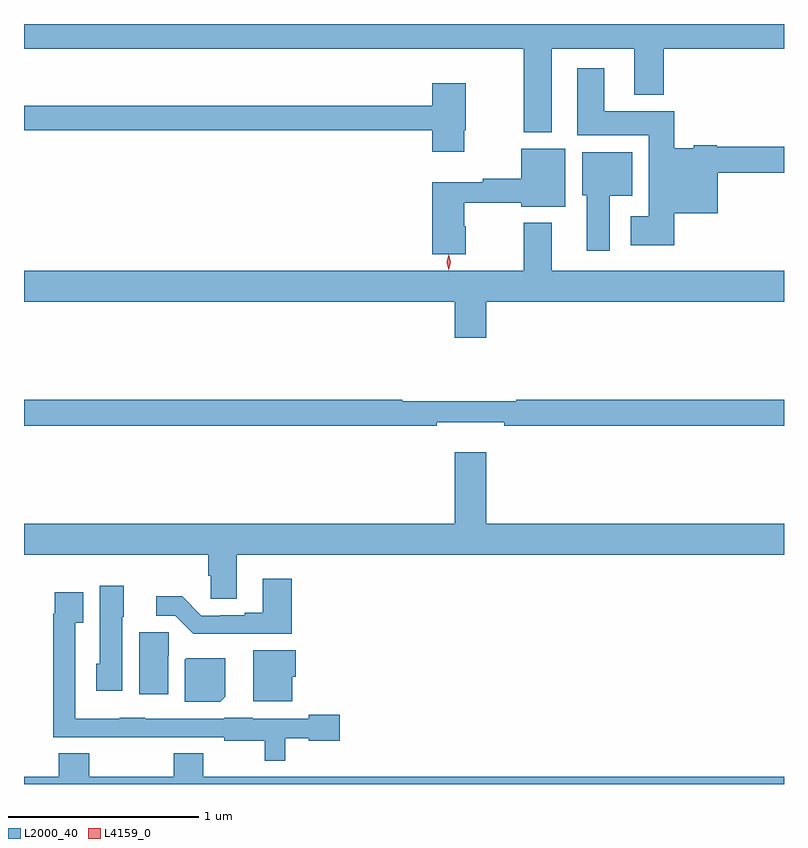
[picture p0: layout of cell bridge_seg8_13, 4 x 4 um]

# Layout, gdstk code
import gdstk
lib = gdstk.Library(unit=1e-6, precision=1e-09)
def P(c, l, *ps):  # polygons
    for p in ps: c.add(gdstk.Polygon(p, *l))
L2000_40 = (2000, 40)
L4159_0 = (4159, 0)

bridge_seg8_13 = lib.new_cell('bridge_seg8_13')
P(bridge_seg8_13, L2000_40, [(980.701,1161.788),(981.137,1161.788),(981.137,1161.545),(981.29,1161.545),(981.29,1161.788),(981.924,1161.788),(981.924,1161.918),(977.924,1161.918),(977.924,1161.788),(980.554,1161.788),(980.554,1161.347),(980.701,1161.347)],
  [(981.347,1160.921),(981.574,1160.921),(981.574,1161.136),(981.924,1161.136),(981.924,1161.272),(981.57,1161.272),(981.57,1161.28),(981.45,1161.28),(981.45,1161.265),(981.347,1161.265),(981.347,1161.46),(980.977,1161.46),(980.977,1161.685),(980.837,1161.685),(980.837,1161.332),(981.212,1161.332),(981.212,1160.905),(981.117,1160.905),(981.117,1160.753),(981.347,1160.753)],
  [(980.242,1161.358),(980.25,1161.358),(980.25,1161.607),(980.072,1161.607),(980.072,1161.487),(977.924,1161.487),(977.924,1161.358),(980.072,1161.358),(980.072,1161.246),(980.242,1161.246)],
  [(980.25,1160.853),(980.242,1160.853),(980.242,1160.976),(980.54,1160.976),(980.54,1160.957),(980.773,1160.957),(980.773,1161.262),(980.54,1161.262),(980.54,1161.104),(980.338,1161.104),(980.338,1161.085),(980.072,1161.085),(980.072,1160.705),(980.25,1160.705)],
  [(981.007,1161.014),(981.124,1161.014),(981.124,1161.244),(980.861,1161.244),(980.861,1161.018),(980.885,1161.018),(980.885,1160.724),(981.007,1160.724)],
  [(980.356,1160.456),(981.924,1160.456),(981.924,1160.62),(980.701,1160.62),(980.701,1160.872),(980.554,1160.872),(980.554,1160.62),(977.924,1160.62),(977.924,1160.456),(980.192,1160.456),(980.192,1160.268),(980.356,1160.268)],
  [(980.096,1159.823),(980.452,1159.823),(980.452,1159.804),(981.924,1159.804),(981.924,1159.94),(980.516,1159.94),(980.516,1159.933),(979.916,1159.933),(979.916,1159.94),(977.924,1159.94),(977.924,1159.804),(980.096,1159.804)],
  [(979.045,1159.124),(981.924,1159.124),(981.924,1159.288),(980.356,1159.288),(980.356,1159.663),(980.192,1159.663),(980.192,1159.288),(977.924,1159.288),(977.924,1159.124),(978.893,1159.124),(978.893,1159.014),(978.906,1159.014),(978.906,1158.892),(979.045,1158.892)],
  [(979.334,1158.997),(979.181,1158.997),(979.181,1158.82),(979.085,1158.82),(979.085,1158.807),(978.958,1158.807),(978.958,1158.804),(978.858,1158.804),(978.756,1158.907),(978.621,1158.907),(978.621,1158.804),(978.72,1158.804),(978.815,1158.71),(979.334,1158.71)],
  [(978.442,1158.798),(978.448,1158.798),(978.448,1158.961),(978.323,1158.961),(978.323,1158.552),(978.305,1158.552),(978.305,1158.408),(978.442,1158.408)],
  [(979.299,1158.158),(979.422,1158.158),(979.422,1158.146),(979.585,1158.146),(979.585,1158.283),(979.422,1158.283),(979.422,1158.262),(979.128,1158.262),(979.128,1158.268),(978.978,1158.268),(978.978,1158.261),(978.561,1158.261),(978.561,1158.268),(978.429,1158.268),(978.429,1158.262),(978.195,1158.262),(978.195,1158.767),(978.235,1158.767),(978.235,1158.928),(978.087,1158.928),(978.087,1158.815),(978.079,1158.815),(978.079,1158.165),(978.329,1158.165),(978.329,1158.164),(978.561,1158.164),(978.561,1158.165),(978.978,1158.165),(978.978,1158.146),(979.191,1158.146),(979.191,1158.041),(979.299,1158.041)],
  [(978.682,1158.594),(978.686,1158.594),(978.686,1158.717),(978.53,1158.717),(978.53,1158.39),(978.682,1158.39)],
  [(979.336,1158.483),(979.354,1158.483),(979.354,1158.622),(979.13,1158.622),(979.13,1158.353),(979.336,1158.353)],
  [(978.982,1158.376),(978.982,1158.58),(978.778,1158.58),(978.77,1158.572),(978.77,1158.35),(978.956,1158.35)],
  [(981.924,1157.956),(978.867,1157.956),(978.867,1158.08),(978.712,1158.08),(978.712,1157.956),(978.267,1157.956),(978.267,1158.08),(978.107,1158.08),(978.107,1157.956),(977.924,1157.956),(977.924,1157.918),(981.924,1157.918)])
P(bridge_seg8_13, L4159_0, [(980.16,1160.623),(980.16,1160.623),(980.149,1160.663),(980.159,1160.703),(980.159,1160.703),(980.159,1160.703),(980.169,1160.663),(980.16,1160.623)])

lib.write_gds('bridge_seg8_13.gds')
